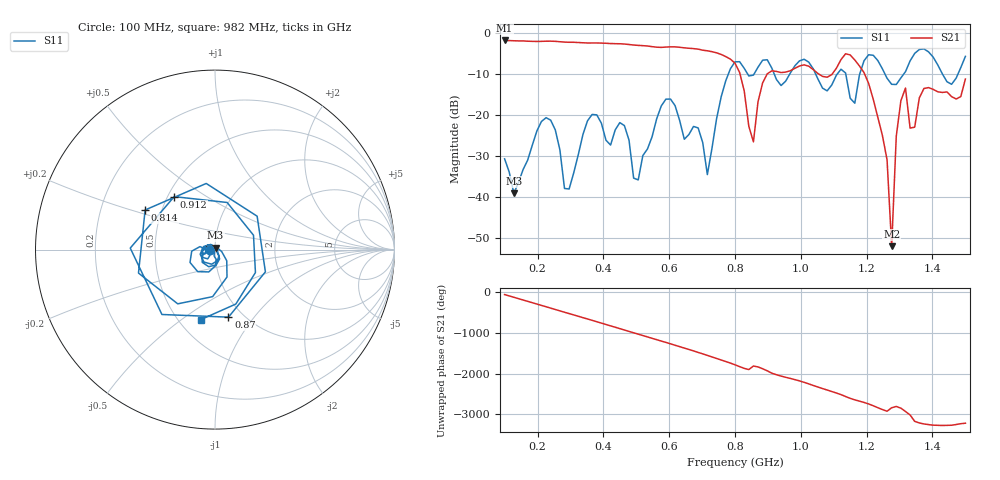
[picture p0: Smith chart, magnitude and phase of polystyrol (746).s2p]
! NanoVNA-App
! Date: 2025-09-25 15:35:41
! Start: 100MHz Stop: 1,5GHz Points: 101
! S-Parameter data: F S11 S21 S12 S22
# Hz S RI R 50
!  Frequency  S11_Real  S11_Imag  S21_Real  S21_Imag  S12_Real  S12_Imag  S22_Real  S22_Imag
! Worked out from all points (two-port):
!   101 points, 100 MHz to 1.5 GHz, reference 50 ohm
!   highest |S21| = -1.80 dB at 100 MHz (marker M1); lowest = -52.0 dB at 1.276 GHz (marker M2)
!   |S21| within 3 dB of the highest: start of sweep to 743.1 MHz
!   lowest |S11| = -39.1 dB at 128 MHz (marker M3), VSWR 1.02, Z = 50.3 + j1.06 ohm
!   |S11| at or under -10 dB: start of sweep to 779.8 MHz; 1.045 GHz to 1.111 GHz (65.66 MHz wide, 6.09 % of centre); 1.256 GHz to 1.313 GHz (57.02 MHz wide, 4.44 % of centre) (the widest 3 of 7)
!   S12 and S22 are empty: the file has one direction only
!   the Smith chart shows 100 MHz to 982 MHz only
!   S11 on the Smith chart (normalised r, x): 100 MHz: 0.94, -0.01; 814 MHz: 0.40, +0.22; 870 MHz: 0.86, -0.75; 912 MHz: 0.54, +0.37; 982 MHz: 0.64, -0.59
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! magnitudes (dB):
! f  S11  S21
! 100 MHz  -30.7  -1.8
! 128 MHz  -39.1  -1.9
! 212 MHz  -21.6  -2.0
! 282 MHz  -37.9  -2.2
! 338 MHz  -24.8  -2.4
! 464 MHz  -22.6  -2.7
! 506 MHz  -35.8  -3.0
! 576 MHz  -17.8  -3.5
! 716 MHz  -34.6  -4.3
! 800 MHz  -7.0  -7.3
! 814 MHz  -7.0  -9.6
! 856 MHz  -10.3  -26.6
! 870 MHz  -8.3  -16.7
! 912 MHz  -8.6  -9.2
! 982 MHz  -8.0  -8.6
! 1.038 GHz  -8.8  -8.9
! 1.192 GHz  -6.8  -9.7
! 1.262 GHz  -11.0  -30.9
! 1.276 GHz  -12.5  -52.0
! 1.29 GHz  -12.6  -25.2
! 1.318 GHz  -9.4  -13.4
! 1.5 GHz  -5.7  -11.2
